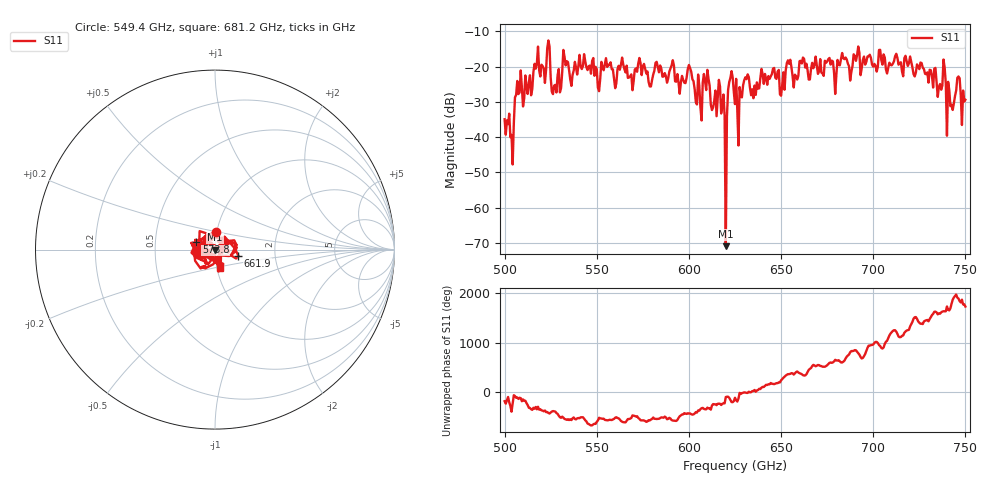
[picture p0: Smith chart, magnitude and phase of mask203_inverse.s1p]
!Created with skrf (http://scikit-rf.org).
# GHz S MA R 50.0
!freq magS11 angS11
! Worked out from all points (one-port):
!   401 points, 500 GHz to 750 GHz, reference 50 ohm
!   lowest |S11| = -70.9 dB at 620 GHz (marker M1), VSWR 1.00, Z = 50 - j0.0285 ohm
!   |S11| at or under -10 dB: start of sweep to end of sweep
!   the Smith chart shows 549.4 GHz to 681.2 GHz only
!   S11 on the Smith chart (normalised r, x): 549.4 GHz: 1.00, +0.20; 573.8 GHz: 0.81, +0.07; 661.9 GHz: 1.29, -0.09; 681.2 GHz: 1.03, -0.22
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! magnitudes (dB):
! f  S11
! 500 GHz  -34.9
! 503.8 GHz  -39.4
! 507.5 GHz  -27.8
! 513.8 GHz  -22.5
! 516.9 GHz  -20.6
! 523.8 GHz  -12.6
! 526.9 GHz  -25.4
! 531.2 GHz  -21.6
! 549.4 GHz  -20.1
! 562.5 GHz  -20.9
! 573.8 GHz  -19.0
! 593.8 GHz  -22.1
! 600.6 GHz  -20.4
! 605.6 GHz  -25.6
! 609.4 GHz  -26.7
! 613.8 GHz  -29.7
! 617.5 GHz  -33.3
! 618.8 GHz  -27.9
! 620 GHz  -70.9
! 621.2 GHz  -26.7
! 622.5 GHz  -23.2
! 625 GHz  -30.7
! 656.2 GHz  -22.8
! 661.9 GHz  -17.5
! 681.2 GHz  -19.4
! 687.5 GHz  -24.0
! 718.8 GHz  -19.8
! 750 GHz  -29.4
